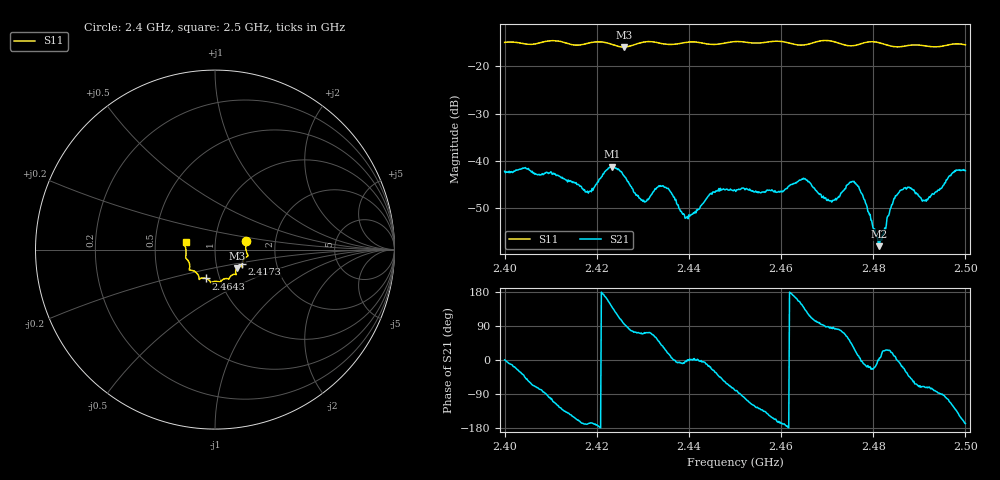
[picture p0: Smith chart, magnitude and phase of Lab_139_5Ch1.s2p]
# Hz S RI R 50
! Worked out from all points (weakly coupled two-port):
!   601 points, 2.4 GHz to 2.5 GHz, reference 50 ohm
!   highest |S21| = -41.20 dB at 2.4233 GHz (marker M1); lowest = -58.1 dB at 2.4813 GHz (marker M2)
!   lowest |S11| = -15.9 dB at 2.4258 GHz (marker M3), VSWR 1.38, Z = 62.4 - j13.3 ohm
!   |S11| at or under -10 dB: start of sweep to end of sweep
!   S12 and S22 are empty: the file has one direction only
!   S11 on the Smith chart (normalised r, x): 2.4 GHz: 1.41, +0.14; 2.4173 GHz: 1.34, -0.23; 2.4643 GHz: 0.86, -0.28; 2.5 GHz: 0.72, +0.06
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2.4e9  0.1729 0.0492  0.00775 3.63e-05  0 0  0 0
2.4105e9  0.1842 -0.0349  -0.00243 -0.00684  0 0  0 0
2.416667e9  0.1524 -0.0745  -0.00516 -0.00128  0 0  0 0
2.417333e9  0.1517 -0.0817  -0.00487 -0.000951  0 0  0 0
2.423333e9  0.1433 -0.0936  -0.00662 0.00565  0 0  0 0
2.425833e9  0.1223 -0.1036  -0.000821 0.00694  0 0  0 0
2.430167e9  0.1177 -0.1376  0.00131 0.00359  0 0  0 0
2.433333e9  0.1125 -0.1376  0.0034 0.00411  0 0  0 0
2.435667e9  0.0964 -0.141  0.00479 0.00132  0 0  0 0
2.439667e9  0.0793 -0.1621  0.00258 1.33e-05  0 0  0 0
2.445e9  0.056 -0.1618  0.00402 -0.00185  0 0  0 0
2.45e9  0.0289 -0.181  0.000834 -0.00481  0 0  0 0
2.459833e9  -0.0243 -0.1829  -0.00458 -0.0013  0 0  0 0
2.464333e9  -0.05 -0.1605  -0.00531 0.00337  0 0  0 0
2.466667e9  -0.0759 -0.1593  -0.00191 0.0051  0 0  0 0
2.471e9  -0.0877 -0.1631  0.000311 0.00364  0 0  0 0
2.476e9  -0.1163 -0.1193  0.0052 0.00259  0 0  0 0
2.481333e9  -0.1423 -0.1071  0.00124 0.000112  0 0  0 0
2.483333e9  -0.1405 -0.0897  0.00238 0.00112  0 0  0 0
2.486333e9  -0.1511 -0.0601  0.00473 -0.00144  0 0  0 0
2.491333e9  -0.1619 -0.0316  0.00117 -0.00368  0 0  0 0
2.5e9  -0.1639 0.0427  -0.0077 -0.00165  0 0  0 0
